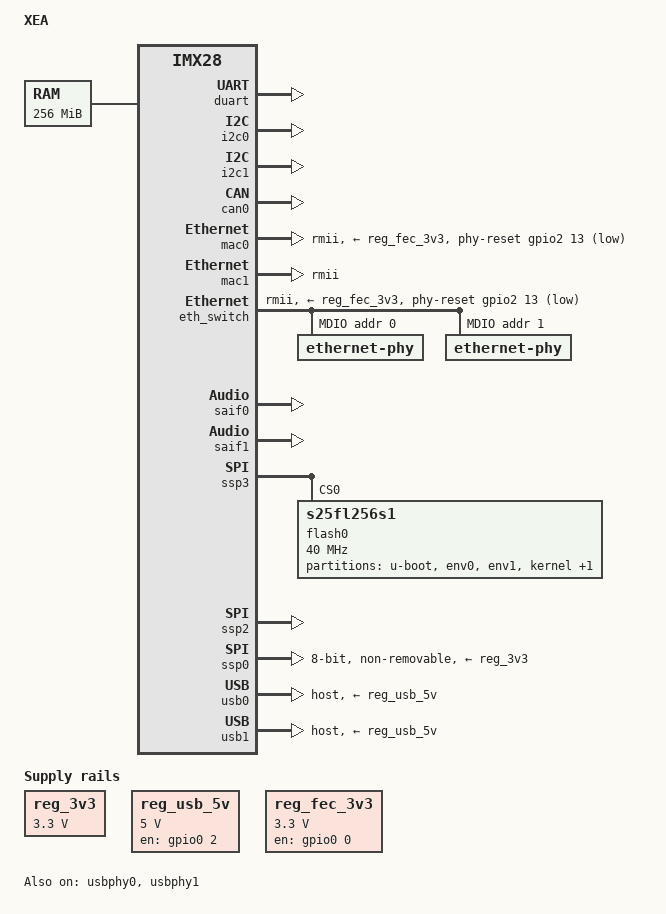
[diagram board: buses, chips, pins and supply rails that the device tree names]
/dts-v1/;
#include "imx28.dtsi"

/ {
	model = "XEA";
	compatible = "fsl,imx28";

	aliases {
		spi2 = &ssp3;
	};

	chosen {
		bootargs = "root=/dev/mmcblk0p2 rootfstype=ext4 ro rootwait console=ttyAMA0,115200 panic=1";
	};

	memory {
		reg = <0x40000000 0x10000000>;
	};

	regulators {
		compatible = "simple-bus";
		#address-cells = <1>;
		#size-cells = <0>;

		reg_3v3: regulator@0 {
			compatible = "regulator-fixed";
			reg = <0>;
			regulator-name = "3V3";
			regulator-min-microvolt = <3300000>;
			regulator-max-microvolt = <3300000>;
			regulator-always-on;
		};

		reg_usb_5v: regulator@1 {
			compatible = "regulator-fixed";
			reg = <1>;
			regulator-name = "usb_vbus";
			regulator-min-microvolt = <5000000>;
			regulator-max-microvolt = <5000000>;
			gpio = <&gpio0 2 0>;
			enable-active-high;
		};

                reg_fec_3v3: regulator@2 {
                        compatible = "regulator-fixed";
                        reg = <2>;
                        regulator-name = "fec-phy";
                        regulator-min-microvolt = <3300000>;
                        regulator-max-microvolt = <3300000>;
                        gpio = <&gpio0 0 0>;
                        enable-active-high;
                };
	};
};

&pinctrl {
	pinctrl-names = "default";
	pinctrl-0 = <&hog_pins_a &hog_pins_tiva>;

	hog_pins_a: hog@0 {
		reg = <0>;
		fsl,pinmux-ids = <
			MX28_PAD_GPMI_D05__GPIO_0_5
			MX28_PAD_GPMI_CE1N__GPIO_0_17
			MX28_PAD_GPMI_RDY1__GPIO_0_21
			MX28_PAD_GPMI_RDY2__GPIO_0_22
			MX28_PAD_GPMI_RDN__GPIO_0_24
			MX28_PAD_GPMI_CLE__GPIO_0_27
			MX28_PAD_LCD_VSYNC__GPIO_1_28
			MX28_PAD_SSP1_SCK__GPIO_2_12
			MX28_PAD_SSP1_CMD__GPIO_2_13
			MX28_PAD_SSP2_SS1__GPIO_2_20
			MX28_PAD_SSP2_SS2__GPIO_2_21
			MX28_PAD_LCD_D00__GPIO_1_0
			MX28_PAD_LCD_D01__GPIO_1_1
			MX28_PAD_LCD_D02__GPIO_1_2
			MX28_PAD_LCD_D03__GPIO_1_3
			MX28_PAD_LCD_D04__GPIO_1_4
			MX28_PAD_LCD_D05__GPIO_1_5
			MX28_PAD_LCD_D06__GPIO_1_6
		>;
		fsl,drive-strength = <MXS_DRIVE_4mA>;
		fsl,voltage = <MXS_VOLTAGE_HIGH>;
		fsl,pull-up = <MXS_PULL_DISABLE>;
	};

	hog_pins_tiva: hog@1 {
		reg = <1>;
		fsl,pinmux-ids = <
			MX28_PAD_GPMI_RDY3__GPIO_0_23
			MX28_PAD_GPMI_WRN__GPIO_0_25
		>;
		fsl,drive-strength = <MXS_DRIVE_4mA>;
		fsl,voltage = <MXS_VOLTAGE_HIGH>;
		fsl,pull-up = <MXS_PULL_ENABLE>;
	};
};

&duart {
	pinctrl-names = "default";
	pinctrl-0 = <&duart_pins_a>;
	status = "okay";
};

&i2c0 {
	pinctrl-names = "default";
	pinctrl-0 = <&i2c0_pins_a>;
	status = "okay";
};

&i2c1 {
	pinctrl-names = "default";
	pinctrl-0 = <&i2c1_pins_b>;
	status = "okay";
};

&can0 {
	pinctrl-names = "default";
        pinctrl-0 = <&can1_pins_a>;
        status = "okay";
};

&mac0 {
	phy-mode = "rmii";
        pinctrl-names = "default";
        pinctrl-0 = <&mac0_pins_a>;
        phy-supply = <&reg_fec_3v3>;
        phy-reset-gpios = <&gpio2 13 0>;
        phy-reset-duration = <100>;
        local-mac-address = [ 00 11 B8 00 BF 8A ];
        status = "okay";
};

&mac1 {
        phy-mode = "rmii";
        pinctrl-names = "default";
        pinctrl-0 = <&mac1_pins_a>;
        status = "okay";
};

&eth_switch {
	compatible = "fsl,mxs-l2switch";
	pinctrl-names = "default";
	pinctrl-0 = <&mac0_pins_a>, <&mac1_pins_a>;
	phy-mode = "rmii";
	phy-supply = <&reg_fec_3v3>;
	phy-reset-gpios = <&gpio2 13 0>;
	phy-reset-duration = <100>;
	interrupts = <100>, <101>, <102>;
	clocks = <&clks 57>, <&clks 57>, <&clks 64>;
	clock-names = "ipg", "ahb", "enet_out";
	local-mac-address = [ 00 11 22 AA BB CC ];
	status = "okay";

	mdio@0 {
		reg = <0x0>;
		#address-cells = <1>;
		#size-cells = <0>;

		ethernet-phy@0 {
			reg = <0>;
		};

		ethernet-phy@1 {
			reg = <1>;
		};
	};
};

&saif0 {
	pinctrl-names = "default";
	pinctrl-0 = <&saif0_pins_a>;
	#sound-dai-cells = <0>;
	assigned-clocks = <&clks 53>;
	assigned-clock-rates = <12000000>;
	status = "okay";
};

&saif1 {
	pinctrl-names = "default";
	pinctrl-0 = <&saif1_pins_a>;
	fsl,saif-master = <&saif0>;
	#sound-dai-cells = <0>;
	status = "okay";
};

&ssp3 {
	compatible = "fsl,imx28-spi";
	pinctrl-names = "default";
	pinctrl-0 = <&spi3_pins_a>;
	status = "okay";
	
	flash0: s25fl256s0@0 {
		compatible = "s25fl256s1", "jedec,spi-nor";
		spi-max-frequency = <40000000>;
		reg = <0>;

		partitions {
			compatible = "fixed-partitions";
			#address-cells = <1>;
			#size-cells = <1>;

			partition@0 {
				label = "u-boot";
				reg = <0 0x80000>;
				read-only;
			};

			partition@80000 {
				label = "env0";
				reg = <0x80000 0x10000>;
			};

			partition@90000 {
				label = "env1";
				reg = <0x90000 0x10000>;
			};

			partition@100000 {
				label = "kernel";
				reg = <0x100000 0x400000>;
			};

			partition@500000 {
				label = "swupdate";
				reg = <0x500000 0x800000>;
			};
		};
	};
	
};

&ssp2 {
	compatible = "fsl,imx28-spi";
	pinctrl-names = "default";
	pinctrl-0 = <&spi2_pins_a>;
	status = "okay";
};

&ssp0 {
        compatible = "fsl,imx28-mmc";
        pinctrl-names = "default";
        pinctrl-0 = <&mmc0_8bit_pins_a>;
        bus-width = <8>;
        vmmc-supply = <&reg_3v3>;
        non-removable;
        status = "okay";
};

&usb0 {
	vbus-supply = <&reg_usb_5v>;
	pinctrl-names = "default";
	pinctrl-0 = <&usb0_pins_b>, <&usb0_id_pins_a>;
	dr_mode = "host";
	status = "okay";
};

&usbphy0 {
	status = "okay";
};

&usb1 {
	vbus-supply = <&reg_usb_5v>;
	pinctrl-names = "default";
	pinctrl-0 = <&usb1_pins_b>;
	dr_mode = "host";
	status = "okay";
};

&usbphy1 {
	status = "okay";
};
